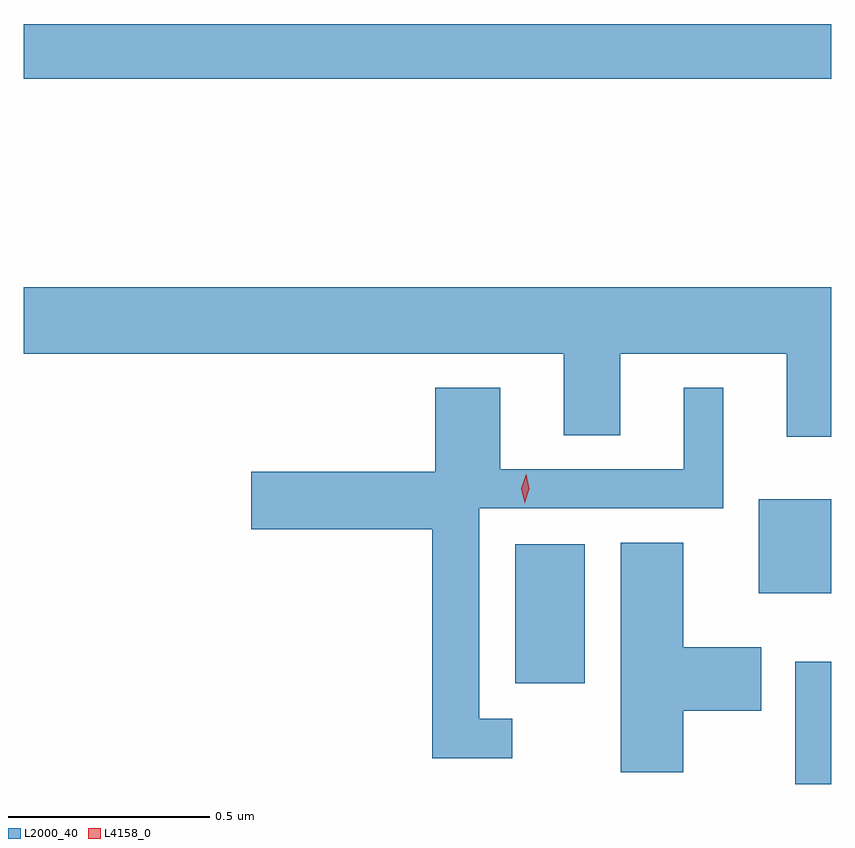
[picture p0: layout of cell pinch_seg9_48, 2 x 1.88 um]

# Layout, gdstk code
import gdstk
lib = gdstk.Library(unit=1e-6, precision=1e-09)
def R(c, l, rs):  # rectangles x0, y0, x1, y1
    for r in rs: c.add(gdstk.rectangle(r[:2], r[2:], *l))
def P(c, l, *ps):  # polygons
    for p in ps: c.add(gdstk.Polygon(p, *l))
L2000_40 = (2000, 40)
L4158_0 = (4158, 0)

pinch_seg9_48 = lib.new_cell('pinch_seg9_48')
R(pinch_seg9_48, L2000_40, [(1006.509,1164.718,1006.598,1165.021), (1005.815,1164.968,1005.988,1165.312), (1006.418,1165.19,1006.598,1165.423), (1004.598,1166.464,1006.598,1166.6)])
P(pinch_seg9_48, L2000_40, [(1006.598,1165.948),(1004.598,1165.948),(1004.598,1165.784),(1005.935,1165.784),(1005.935,1165.582),(1006.075,1165.582),(1006.075,1165.784),(1006.487,1165.784),(1006.487,1165.578),(1006.598,1165.578)],
  [(1005.808,1164.879),(1005.726,1164.879),(1005.726,1165.401),(1006.33,1165.401),(1006.33,1165.699),(1006.232,1165.699),(1006.232,1165.497),(1005.778,1165.497),(1005.778,1165.699),(1005.617,1165.699),(1005.617,1165.491),(1005.162,1165.491),(1005.162,1165.349),(1005.61,1165.349),(1005.61,1164.782),(1005.808,1164.782)],
  [(1006.231,1164.899),(1006.424,1164.899),(1006.424,1165.057),(1006.231,1165.057),(1006.231,1165.316),(1006.076,1165.316),(1006.076,1164.747),(1006.231,1164.747)])
P(pinch_seg9_48, L4158_0, [(1005.839,1165.413),(1005.839,1165.414),(1005.83,1165.45),(1005.842,1165.485),(1005.842,1165.485),(1005.842,1165.485),(1005.85,1165.449),(1005.839,1165.414)])

lib.write_gds('pinch_seg9_48.gds')
